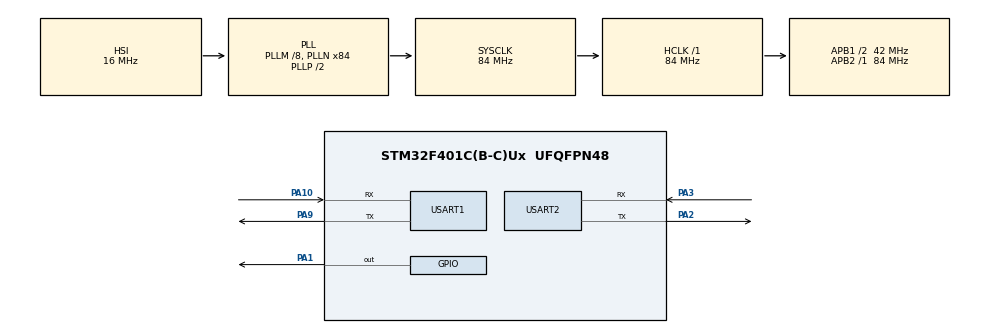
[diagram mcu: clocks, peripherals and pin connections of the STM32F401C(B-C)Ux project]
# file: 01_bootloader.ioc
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Mcu.Family=STM32F4
Mcu.Name=STM32F401C(B-C)Ux
Mcu.Package=UFQFPN48
NVIC.PriorityGroup=NVIC_PRIORITYGROUP_4
NVIC.TIM3_IRQn=true\:0\:0\:false\:false\:true\:true\:true\:true
PA1.Signal=GPIO_Output
PA10.Mode=Asynchronous
PA10.Signal=USART1_RX
PA2.Mode=Asynchronous
PA2.Signal=USART2_TX
PA3.Mode=Asynchronous
PA3.Signal=USART2_RX
PA9.Mode=Asynchronous
PA9.Signal=USART1_TX
ProjectManager.HeapSize=0x200
ProjectManager.StackSize=0x400
ProjectManager.TargetToolchain=STM32CubeIDE
RCC.48MHZClocksFreq_Value=42000000
RCC.AHBFreq_Value=84000000
RCC.APB1CLKDivider=RCC_HCLK_DIV2
RCC.APB1Freq_Value=42000000
RCC.APB1TimFreq_Value=84000000
RCC.APB2Freq_Value=84000000
RCC.APB2TimCLKDivider=1
RCC.APB2TimFreq_Value=84000000
RCC.CortexFreq_Value=84000000
RCC.HCLKFreq_Value=84000000
RCC.HSE_VALUE=25000000
RCC.HSI_VALUE=16000000
RCC.LSE_VALUE=32768
RCC.PLLM=8
RCC.PLLN=84
RCC.SYSCLKFreq_VALUE=84000000
RCC.SYSCLKSource=RCC_SYSCLKSOURCE_PLLCLK
RCC.VCOOutputFreq_Value=168000000
TIM3.Period=42000
USART1.VirtualMode=VM_ASYNC
USART2.VirtualMode=VM_ASYNC
VP_CRC_VS_CRC.Mode=CRC_Activate
VP_TIM3_VS_ClockSourceINT.Mode=Internal
board=custom

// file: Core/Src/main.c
/* USER CODE BEGIN Header */
/*****************************************************************************/
/*  Author     :  Abdallah Ahmed                                             */
/*  Created on :  6/2/2024                                                   */
/*  Version    :  V01                                                        */
/*****************************************************************************/
/* USER CODE END Header */
#include "main.h"
#include "crc.h"
#include "tim.h"
#include "usart.h"
#include "gpio.h"

/* USER CODE BEGIN Includes */
#include "bootloader.h"
#include "stm32f4xx_hal.h"

/* USER CODE END Includes */

void SystemClock_Config(void);

/* USER CODE BEGIN 0 */

char message_1[] = "I am Abdallah Ahmed \r\n";
char message_2[] = "I am Abdallah  \r\n";
/* Flag to stop the Timer */
volatile uint8_t Time_flag = 0 ;
/* USER CODE END 0 */

int main(void)
{
  /* USER CODE BEGIN 1 */

	// *************** HAL_StatusTypeDef Status = HAL_ERROR ;

  /* USER CODE END 1 */

  /* MCU Configuration--------------------------------------------------------*/

  /* Reset of all peripherals, Initializes the Flash interface and the Systick. */
  HAL_Init();

  /* Configure the system clock */
  SystemClock_Config();

  /* Initialize all configured peripherals */
  MX_GPIO_Init();
  MX_USART1_UART_Init();
  MX_USART2_UART_Init();
  MX_CRC_Init();
  MX_TIM3_Init();
  /* USER CODE BEGIN 2 */
  BL_Status Status = BL_NACK ;
  /* Start Timer 3 */
  HAL_TIM_Base_Start_IT(&htim3);
  /* Receive Flag to Stop the Timer if the Host is sending data*/
  uint8_t Receive_Flag = Receive_NOK ;

 HAL_GPIO_WritePin(GPIOA, GPIO_PIN_1, GPIO_PIN_SET);
  /* USER CODE END 2 */

  /* Infinite loop */
  /* USER CODE BEGIN WHILE */
#if (BL_DEBUG_ENABLE == DEBUG_INFO_ENABLE)
    BL_Print_Message("Bootloader Started \r\n");
#endif

  while (1)
  {
    /* USER CODE END WHILE */

    /* USER CODE BEGIN 3 */
	  /* Check if the Host Sending any Command */
	  Status = BL_UART_Fetch_Host_Command();

	  /* Stop Timer in Case of any Updates*/
	  if(BL_OK == Status && Receive_Flag == Receive_NOK)
	  {
		  HAL_TIM_Base_Start_IT(&htim3);
		  Receive_Flag = Receive_OK ;
#if (BL_DEBUG_ENABLE == DEBUG_INFO_ENABLE)
          BL_Print_Message(" Disable Timer 3 \r\n");
#endif

	  }
	  if(Time_flag == 1 )
	  {
		  HAL_GPIO_WritePin(GPIOA, GPIO_PIN_1, GPIO_PIN_RESET);

		  /* Disable Timer 3 */
		  HAL_TIM_Base_Stop_IT(&htim3);
		  /* Jumping to Application */
		  bootloader_jump_to_user_app();

	  }
  }
  /* USER CODE END 3 */
}

void SystemClock_Config(void)
{
  RCC_OscInitTypeDef RCC_OscInitStruct = {0};
  RCC_ClkInitTypeDef RCC_ClkInitStruct = {0};

  /** Configure the main internal regulator output voltage
  */
  __HAL_RCC_PWR_CLK_ENABLE();
  __HAL_PWR_VOLTAGESCALING_CONFIG(PWR_REGULATOR_VOLTAGE_SCALE2);

  /** Initializes the RCC Oscillators according to the specified parameters
  * in the RCC_OscInitTypeDef structure.
  */
  RCC_OscInitStruct.OscillatorType = RCC_OSCILLATORTYPE_HSI;
  RCC_OscInitStruct.HSIState = RCC_HSI_ON;
  RCC_OscInitStruct.HSICalibrationValue = RCC_HSICALIBRATION_DEFAULT;
  RCC_OscInitStruct.PLL.PLLState = RCC_PLL_ON;
  RCC_OscInitStruct.PLL.PLLSource = RCC_PLLSOURCE_HSI;
  RCC_OscInitStruct.PLL.PLLM = 8;
  RCC_OscInitStruct.PLL.PLLN = 84;
  RCC_OscInitStruct.PLL.PLLP = RCC_PLLP_DIV2;
  RCC_OscInitStruct.PLL.PLLQ = 4;
  if (HAL_RCC_OscConfig(&RCC_OscInitStruct) != HAL_OK)
  {
    Error_Handler();
  }

  /** Initializes the CPU, AHB and APB buses clocks
  */
  RCC_ClkInitStruct.ClockType = RCC_CLOCKTYPE_HCLK|RCC_CLOCKTYPE_SYSCLK
                              |RCC_CLOCKTYPE_PCLK1|RCC_CLOCKTYPE_PCLK2;
  RCC_ClkInitStruct.SYSCLKSource = RCC_SYSCLKSOURCE_PLLCLK;
  RCC_ClkInitStruct.AHBCLKDivider = RCC_SYSCLK_DIV1;
  RCC_ClkInitStruct.APB1CLKDivider = RCC_HCLK_DIV2;
  RCC_ClkInitStruct.APB2CLKDivider = RCC_HCLK_DIV1;

  if (HAL_RCC_ClockConfig(&RCC_ClkInitStruct, FLASH_LATENCY_2) != HAL_OK)
  {
    Error_Handler();
  }
}

/* USER CODE BEGIN 4 */
void HAL_TIM_PeriodElapsedCallback(TIM_HandleTypeDef *htim)
{
	static uint16_t Local_Counter = 0 ;
	if(30000 <= Local_Counter)
	{
#if (BL_DEBUG_ENABLE == DEBUG_INFO_ENABLE)
        BL_Print_Message("Jumping to Application \r\n");
#endif
        /* Set the Flag to jump to user app */
        Time_flag = 1 ;

        /* Disable Timer 3 */
		HAL_TIM_Base_Stop_IT(&htim3);

	}
	else
	{
	/* Increment the Counter Every time interrupt occure*/
	Local_Counter++;
	}
}

/* USER CODE END 4 */

void Error_Handler(void)
{
  __disable_irq();
  while (1)
  {
  }
}
